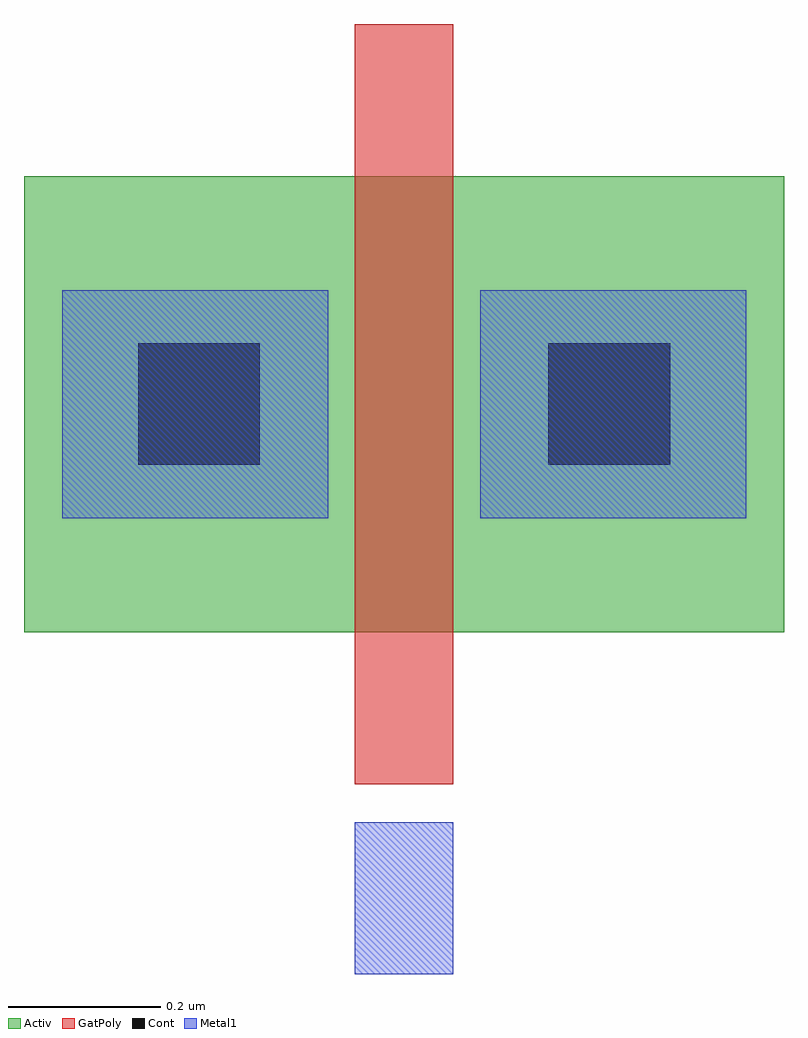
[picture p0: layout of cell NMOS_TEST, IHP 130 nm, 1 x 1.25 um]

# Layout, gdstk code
import gdstk
lib = gdstk.Library(unit=1e-6, precision=1e-09)
def R(c, l, rs):  # rectangles x0, y0, x1, y1
    for r in rs: c.add(gdstk.rectangle(r[:2], r[2:], *l))
Activ = (1, 0)
GatPoly = (5, 0)
Cont = (6, 0)
Metal1 = (8, 0)

nmos_test = lib.new_cell('NMOS_TEST')
R(nmos_test, Activ, [(0,0,1,0.6)])
R(nmos_test, GatPoly, [(0.435,-0.2,0.565,0.8)])
R(nmos_test, Cont, [(0.15,0.22,0.31,0.38), (0.69,0.22,0.85,0.38)])
R(nmos_test, Metal1, [(0.435,-0.45,0.565,-0.25), (0.05,0.15,0.4,0.45), (0.6,0.15,0.95,0.45)])

lib.write_gds('NMOS_TEST.gds')
